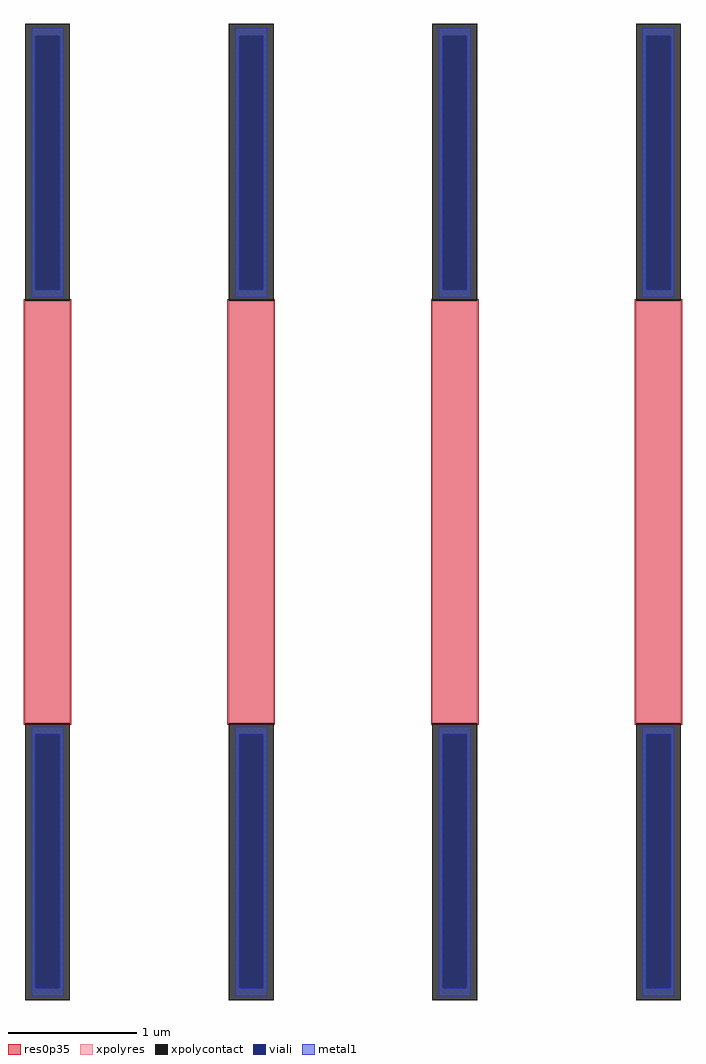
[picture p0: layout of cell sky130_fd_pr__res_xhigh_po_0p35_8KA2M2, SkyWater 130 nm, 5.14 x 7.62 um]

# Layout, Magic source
magic
tech sky130A
magscale 1 2
<< xpolycontact >>
rect -512 330 -442 762
rect -512 -762 -442 -330
rect -194 330 -124 762
rect -194 -762 -124 -330
rect 124 330 194 762
rect 124 -762 194 -330
rect 442 330 512 762
rect 442 -762 512 -330
<< xpolyres >>
rect -512 -330 -442 330
rect -194 -330 -124 330
rect 124 -330 194 330
rect 442 -330 512 330
<< viali >>
rect -496 347 -458 744
rect -178 347 -140 744
rect 140 347 178 744
rect 458 347 496 744
rect -496 -744 -458 -347
rect -178 -744 -140 -347
rect 140 -744 178 -347
rect 458 -744 496 -347
<< metal1 >>
rect -502 744 -452 756
rect -502 347 -496 744
rect -458 347 -452 744
rect -502 335 -452 347
rect -184 744 -134 756
rect -184 347 -178 744
rect -140 347 -134 744
rect -184 335 -134 347
rect 134 744 184 756
rect 134 347 140 744
rect 178 347 184 744
rect 134 335 184 347
rect 452 744 502 756
rect 452 347 458 744
rect 496 347 502 744
rect 452 335 502 347
rect -502 -347 -452 -335
rect -502 -744 -496 -347
rect -458 -744 -452 -347
rect -502 -756 -452 -744
rect -184 -347 -134 -335
rect -184 -744 -178 -347
rect -140 -744 -134 -347
rect -184 -756 -134 -744
rect 134 -347 184 -335
rect 134 -744 140 -347
rect 178 -744 184 -347
rect 134 -756 184 -744
rect 452 -347 502 -335
rect 452 -744 458 -347
rect 496 -744 502 -347
rect 452 -756 502 -744
<< res0p35 >>
rect -514 -332 -440 332
rect -196 -332 -122 332
rect 122 -332 196 332
rect 440 -332 514 332
<< properties >>
string gencell sky130_fd_pr__res_xhigh_po_0p35
string library sky130
string parameters w 0.350 l 3.3 m 1 nx 4 wmin 0.350 lmin 0.50 rho 2000 val 19.932k dummy 0 dw 0.0 term 188.2 sterm 0.0 caplen 0 wmax 0.350 guard 0 glc 1 grc 1 gtc 1 gbc 1 compatible {sky130_fd_pr__res_xhigh_po_0p35  sky130_fd_pr__res_xhigh_po_0p69 sky130_fd_pr__res_xhigh_po_1p41  sky130_fd_pr__res_xhigh_po_2p85 sky130_fd_pr__res_xhigh_po_5p73} full_metal 1 n_guard 0 hv_guard 0 vias 1 viagb 0 viagt 0 viagl 0 viagr 0
<< end >>
